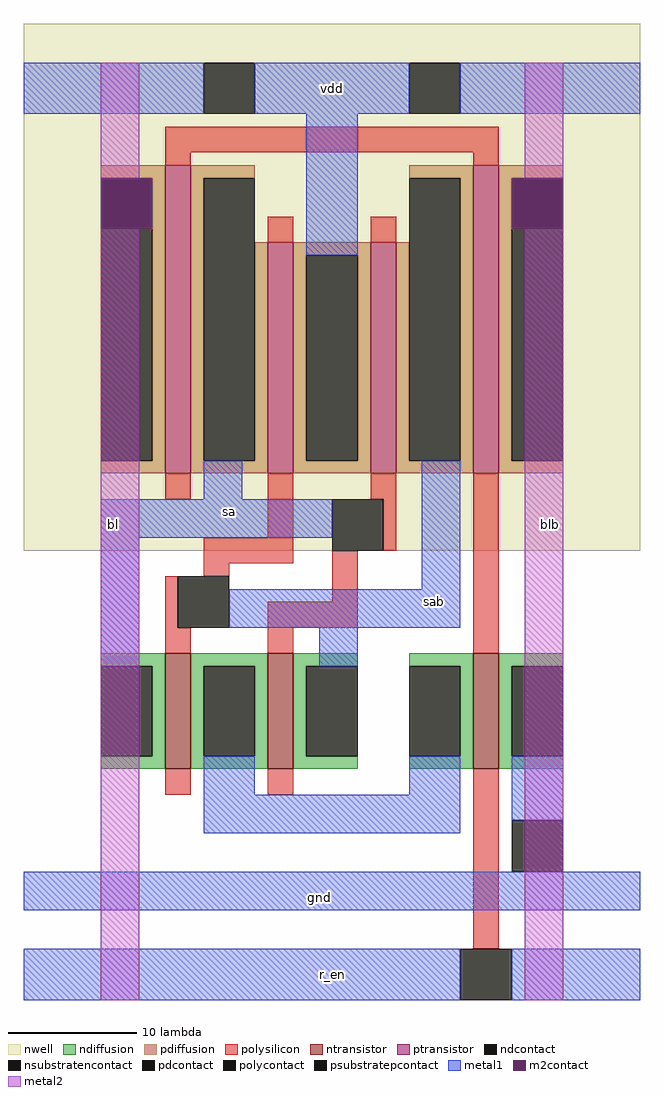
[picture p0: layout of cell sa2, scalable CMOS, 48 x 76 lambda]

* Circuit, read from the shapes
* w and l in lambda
.subckt sa2 bl blb gnd r_en sa sab vdd
M1 n1 sab sa gnd nfet w=9 l=2
M2 sab sa n1 gnd nfet w=9 l=2
M3 gnd r_en n1 gnd nfet w=9 l=2
M4 sa r_en bl vdd pfet w=24 l=2
M5 vdd sab sa vdd pfet w=18 l=2
M6 sab sa vdd vdd pfet w=18 l=2
M7 blb r_en sab vdd pfet w=24 l=2
.ends

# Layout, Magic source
magic
tech scmos
<< nwell >>
rect 0 -30 48 11
<< ntransistor >>
rect 11 -47 13 -38
rect 19 -47 21 -38
rect 35 -47 37 -38
<< ptransistor >>
rect 11 -24 13 0
rect 19 -24 21 -6
rect 27 -24 29 -6
rect 35 -24 37 0
<< ndiffusion >>
rect 6 -39 11 -38
rect 10 -46 11 -39
rect 6 -47 11 -46
rect 13 -39 19 -38
rect 13 -46 14 -39
rect 18 -46 19 -39
rect 13 -47 19 -46
rect 21 -39 26 -38
rect 21 -46 22 -39
rect 21 -47 26 -46
rect 30 -39 35 -38
rect 34 -46 35 -39
rect 30 -47 35 -46
rect 37 -39 42 -38
rect 37 -46 38 -39
rect 37 -47 42 -46
<< pdiffusion >>
rect 6 -1 11 0
rect 10 -23 11 -1
rect 6 -24 11 -23
rect 13 -1 18 0
rect 13 -23 14 -1
rect 30 -1 35 0
rect 18 -23 19 -6
rect 13 -24 19 -23
rect 21 -7 27 -6
rect 21 -23 22 -7
rect 26 -23 27 -7
rect 21 -24 27 -23
rect 29 -23 30 -6
rect 34 -23 35 -1
rect 29 -24 35 -23
rect 37 -1 42 0
rect 37 -23 38 -1
rect 37 -24 42 -23
<< ndcontact >>
rect 6 -46 10 -39
rect 14 -46 18 -39
rect 22 -46 26 -39
rect 30 -46 34 -39
rect 38 -46 42 -39
<< pdcontact >>
rect 6 -23 10 -1
rect 14 -23 18 -1
rect 22 -23 26 -7
rect 30 -23 34 -1
rect 38 -23 42 -1
<< psubstratepcontact >>
rect 38 -55 42 -51
<< nsubstratencontact >>
rect 14 4 18 8
rect 30 4 34 8
<< polysilicon >>
rect 11 1 37 3
rect 11 0 13 1
rect 35 0 37 1
rect 19 -6 21 -4
rect 27 -6 29 -4
rect 11 -26 13 -24
rect 19 -29 21 -24
rect 27 -26 29 -24
rect 14 -31 21 -29
rect 28 -30 29 -26
rect 14 -32 16 -31
rect 11 -36 12 -32
rect 24 -34 26 -30
rect 19 -36 26 -34
rect 11 -38 13 -36
rect 19 -38 21 -36
rect 35 -38 37 -24
rect 11 -49 13 -47
rect 19 -49 21 -47
rect 35 -61 37 -47
<< polycontact >>
rect 24 -30 28 -26
rect 12 -36 16 -32
rect 34 -65 38 -61
<< metal1 >>
rect 0 4 14 8
rect 18 4 30 8
rect 34 4 48 8
rect 22 -7 26 4
rect 14 -26 17 -23
rect 6 -29 24 -26
rect 6 -39 9 -29
rect 31 -33 34 -23
rect 16 -36 34 -33
rect 23 -39 26 -36
rect 14 -49 18 -46
rect 30 -49 34 -46
rect 14 -52 34 -49
rect 38 -51 42 -46
rect 0 -58 48 -55
rect 0 -65 34 -61
rect 38 -65 48 -61
<< m2contact >>
rect 6 -5 10 -1
rect 38 -5 42 -1
<< metal2 >>
rect 6 -1 9 8
rect 39 -1 42 8
rect 6 -65 9 -5
rect 39 -65 42 -5
<< labels >>
rlabel metal2 41 -28 41 -28 7 blb
rlabel metal2 7 -28 7 -28 3 bl
rlabel metal1 24 -63 24 -63 1 r_en
rlabel metal1 23 -57 23 -57 1 gnd
rlabel metal1 16 -27 16 -27 1 sa
rlabel metal1 32 -34 32 -34 1 sab
rlabel metal1 24 6 24 6 5 vdd
<< end >>
